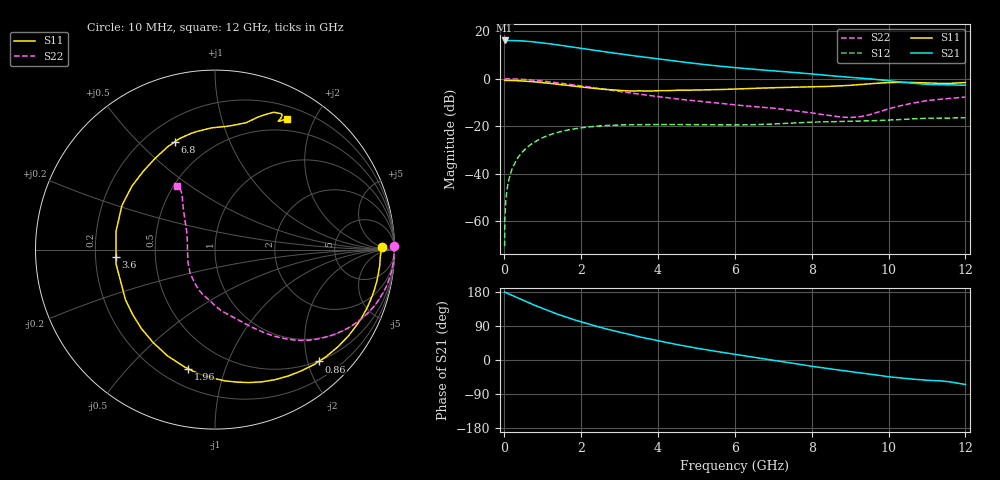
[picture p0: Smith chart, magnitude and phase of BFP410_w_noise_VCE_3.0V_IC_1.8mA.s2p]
! Infineon Technologies  Discrete & RF Semiconductors
! BFP410
! VCE =  3.0 V,  IC =  1.8 mA
! Common Emitter S-Parameters:  Nov 2015
# GHz  S  MA  R  50
!  f  S11  S21  S12  S22
! GHz  MAG  ANG  MAG  ANG  MAG  ANG  MAG  ANG
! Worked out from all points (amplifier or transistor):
!   243 points, 10 MHz to 12 GHz, reference 50 ohm
!   highest |S21| = 16.1 dB at 10 MHz (marker M1)
!   |S21| within 3 dB of that: start of sweep to 1.875 GHz
!   unconditionally stable (mu >= 1): 4.174 GHz to end of sweep
!   at 240 MHz: K = 0.04, MSG = 26.4 dB, |S12| = -36.7 dB
!   at 1.84 GHz: K = 0.36, MSG = 17.1 dB, |S12| = -21.1 dB
!   at 12 GHz: K = 1.16, MAG = 4.4 dB, |S12| = -16.4 dB
!   lowest NFmin = 0.81 dB at 900 MHz
!   S11 on the Smith chart (normalised r, x): 10 MHz: 26, +6; 860 MHz: 0.49, -2.20; 1.96 GHz: 0.30, -0.75; 3.6 GHz: 0.29, -0.03; 6.8 GHz: 0.32, +0.65; 12 GHz: 0.34, +1.64
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0.01  0.9289 0.9  6.404 179.4  0.0003 116.7  1 1.0
0.015  0.9274 0.2  6.38 179.3  0.0008 94.6  0.9957 0.7
0.02  0.9261 -0.6  6.357 179.2  0.0013 89.6  0.9914 0.3
0.045  0.9222 -2.2  6.348 177.6  0.003 87.7  0.9972 -0.7
0.18  0.919 -9.7  6.374 171.8  0.0112 84.1  0.9948 -4.9
0.5  0.8961 -27.4  6.23 157.3  0.0305 75.2  0.9698 -13.6
0.86  0.8503 -47.1  5.863 141.6  0.0505 64.5  0.9191 -22.9
1.1  0.814 -59.9  5.568 131.9  0.0623 57.9  0.8764 -28.6
1.36  0.7709 -73.5  5.209 121.8  0.0732 50.9  0.8265 -34.2
1.96  0.6799 -102.8  4.427 101.9  0.0917 37.2  0.7148 -45.0
2.02  0.6713 -105.6  4.352 100.1  0.0931 36.0  0.7042 -45.9
2.4  0.6225 -123.5  3.933 88.9  0.1006 28.6  0.6361 -51.5
2.78  0.5845 -141.3  3.547 78.7  0.105 22.2  0.5721 -56.5
3.6  0.5535 -175.7  2.885 59.5  0.1085 11.6  0.4647 -65.9
4.1  0.5603 166.6  2.566 48.8  0.1091 7.0  0.4119 -71.8
5  0.5822 142.8  2.084 31.3  0.1081 0.6  0.3413 -84.3
6.1  0.6114 121.6  1.689 13.4  0.1068 -2.8  0.2777 -98.2
6.8  0.6405 110.5  1.513 2.5  0.1103 -3.8  0.2478 -109.3
8.2  0.6827 88.2  1.222 -19.4  0.1233 -9.4  0.1802 -142.4
9.2  0.75 74.2  1.044 -33.1  0.1281 -13.6  0.1568 168.8
10.2  0.8369 65.5  0.874 -46.2  0.1374 -17.0  0.2564 131.9
12  0.8332 61.2  0.736 -64.6  0.1516 -29.3  0.4121 120.6
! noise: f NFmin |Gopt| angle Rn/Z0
0.45  0.85  0.54  8  0.31
0.9  0.81  0.52  22  0.28
1.8  1.05  0.41  56  0.24
2.4  1.11  0.38  66  0.23
5.5  2.29  0.37  -144  0.22
10  4.11  0.71  -57  2.47
